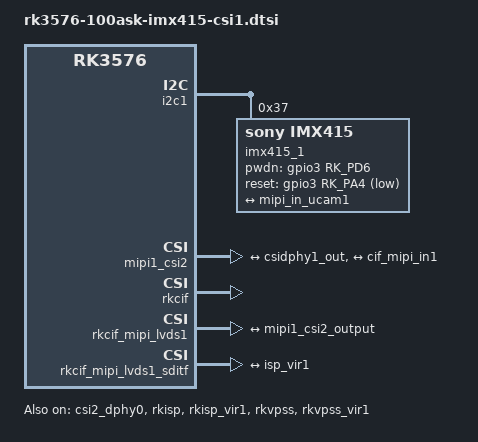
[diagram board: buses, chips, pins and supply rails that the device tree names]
&csi2_dphy0 {
        status = "okay";

        ports {
                #address-cells = <1>;
                #size-cells = <0>;
                port@0 {
                        reg = <0>;
                        #address-cells = <1>;
                        #size-cells = <0>;

                        mipi_in_ucam1: endpoint@1 {
                                        reg = <1>;
                                        remote-endpoint = <&imx415_out1>;
                                        data-lanes = <1 2 3 4>;
                        };
                };
                port@1 {
                        reg = <1>;
                        #address-cells = <1>;
                        #size-cells = <0>;

                        csidphy1_out: endpoint@0 {
                                reg = <0>;
                                remote-endpoint = <&mipi1_csi2_input>;
                        };
                };
        };
};


&i2c1 {
        status = "okay";
        //pinctrl-0 = <&i2c3m2_xfer>;

        imx415_1: imx415_1@37 {
                status = "okay";
                compatible = "sony,imx415";
                reg = <0x37>;
                clocks = <&cru CLK_MIPI_CAMERAOUT_M0>;
                clock-names = "xvclk";
                pinctrl-names = "default";
                pinctrl-0 = <&cam_clk0m0_clk0>;
                power-domains = <&power RK3576_PD_VI>;
                pwdn-gpios = <&gpio3 RK_PD6 GPIO_ACTIVE_HIGH>;
                reset-gpios = <&gpio3 RK_PA4 GPIO_ACTIVE_LOW>;
                rockchip,camera-module-index = <1>;
                rockchip,camera-module-facing = "front";
                rockchip,camera-module-name = "CMK-OT2022-PX1";
                rockchip,camera-module-lens-name = "IR0147-50IRC-8M-F20";
                port {
                        imx415_out1: endpoint {
                                remote-endpoint = <&mipi_in_ucam1>;
                                data-lanes = <1 2 3 4>;
                        };
                };
        };

};

&mipi1_csi2 {
        status = "okay";

        ports {
                #address-cells = <1>;
                #size-cells = <0>;

                port@0 {
                        reg = <0>;
                        #address-cells = <1>;
                        #size-cells = <0>;

                        mipi1_csi2_input: endpoint@1 {
                                reg = <1>;
                                remote-endpoint = <&csidphy1_out>;
                        };
                };

                port@1 {
                        reg = <1>;
                        #address-cells = <1>;
                        #size-cells = <0>;

                        mipi1_csi2_output: endpoint@0 {
                                reg = <0>;
                                remote-endpoint = <&cif_mipi_in1>;
                        };
                };
        };
};

&rkcif {
        status = "okay";
};

&rkcif_mipi_lvds1 {
        status = "okay";

        port {
                cif_mipi_in1: endpoint {
                        remote-endpoint = <&mipi1_csi2_output>;
                };
        };
};

&rkcif_mipi_lvds1_sditf {
        status = "okay";

        port {
                mipi1_lvds_sditf: endpoint {
                        remote-endpoint = <&isp_vir1>;
                };
        };
};

&rkcif_mmu {
        status = "okay";
};

&rkisp {
        status = "okay";
};

&rkisp_mmu {
        status = "okay";
};

&rkisp_vir1 {
        status = "okay";

        port {
                #address-cells = <1>;
                #size-cells = <0>;

                isp_vir1: endpoint@0 {
                        reg = <0>;
                        remote-endpoint = <&mipi1_lvds_sditf>;
                };
        };
};

&rkvpss {
        status = "okay";
};

&rkvpss_mmu {
        status = "okay";
};

&rkvpss_vir1 {
        status = "okay";
};
